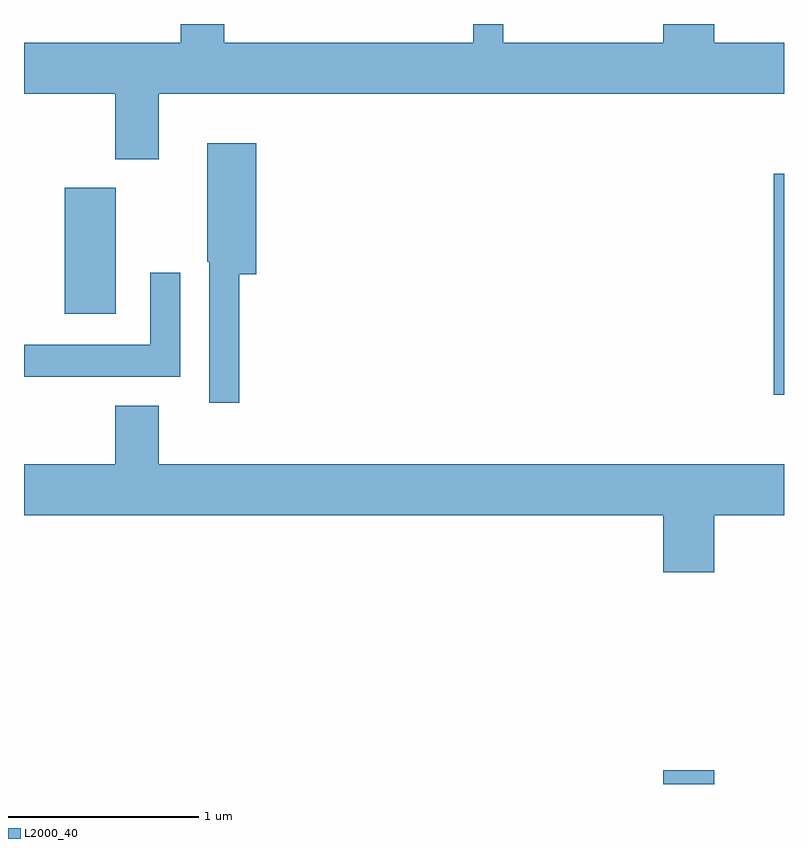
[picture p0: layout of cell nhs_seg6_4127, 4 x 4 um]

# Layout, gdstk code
import gdstk
lib = gdstk.Library(unit=1e-6, precision=1e-09)
def R(c, l, rs):  # rectangles x0, y0, x1, y1
    for r in rs: c.add(gdstk.rectangle(r[:2], r[2:], *l))
def P(c, l, *ps):  # polygons
    for p in ps: c.add(gdstk.Polygon(p, *l))
L2000_40 = (2000, 40)

nhs_seg6_4127 = lib.new_cell('nhs_seg6_4127')
R(nhs_seg6_4127, L2000_40, [(314.976,1564.162,315.244,1564.234), (315.556,1566.211,315.611,1567.374), (311.826,1566.636,312.094,1567.299)])
P(nhs_seg6_4127, L2000_40, [(312.319,1567.796),(315.611,1567.796),(315.611,1568.064),(315.244,1568.064),(315.244,1568.162),(314.976,1568.162),(314.976,1568.064),(314.134,1568.064),(314.134,1568.162),(313.976,1568.162),(313.976,1568.064),(312.664,1568.064),(312.664,1568.162),(312.436,1568.162),(312.436,1568.064),(311.611,1568.064),(311.611,1567.796),(312.091,1567.796),(312.091,1567.451),(312.319,1567.451)],
  [(312.744,1566.846),(312.834,1566.846),(312.834,1567.534),(312.576,1567.534),(312.576,1566.91),(312.586,1566.91),(312.586,1566.168),(312.744,1566.168)],
  [(312.434,1566.853),(312.276,1566.853),(312.276,1566.474),(311.611,1566.474),(311.611,1566.306),(312.434,1566.306)],
  [(314.976,1565.276),(315.244,1565.276),(315.244,1565.576),(315.611,1565.576),(315.611,1565.844),(312.319,1565.844),(312.319,1566.154),(312.091,1566.154),(312.091,1565.844),(311.611,1565.844),(311.611,1565.576),(314.976,1565.576)])

lib.write_gds('nhs_seg6_4127.gds')
